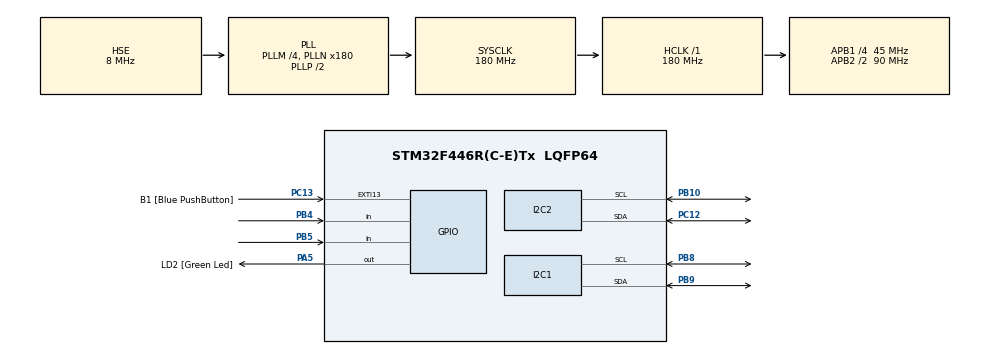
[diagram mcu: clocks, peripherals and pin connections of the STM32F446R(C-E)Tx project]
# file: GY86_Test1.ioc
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I2C2.I2C_Mode=I2C_Fast
Mcu.Family=STM32F4
Mcu.Name=STM32F446R(C-E)Tx
Mcu.Package=LQFP64
NVIC.PriorityGroup=NVIC_PRIORITYGROUP_0
PA13.GPIO_Label=TMS
PA13.Mode=Serial_Wire
PA13.Signal=SYS_JTMS-SWDIO
PA14.GPIO_Label=TCK
PA14.Mode=Serial_Wire
PA14.Signal=SYS_JTCK-SWCLK
PA2.GPIO_Label=USART_TX
PA2.Signal=USART2_TX
PA3.GPIO_Label=USART_RX
PA3.Signal=USART2_RX
PA5.GPIO_Label=LD2 [Green Led]
PA5.Signal=GPIO_Output
PB10.Mode=I2C
PB10.Signal=I2C2_SCL
PB3.GPIO_Label=SWO
PB3.Signal=SYS_JTDO-SWO
PB4.Signal=GPIO_Input
PB5.Signal=GPIO_Input
PB8.Mode=I2C
PB8.Signal=I2C1_SCL
PB9.Mode=I2C
PB9.Signal=I2C1_SDA
PC12.Mode=I2C
PC12.Signal=I2C2_SDA
PC13.GPIO_Label=B1 [Blue PushButton]
PC13.GPIO_ModeDefaultEXTI=GPIO_MODE_IT_FALLING
PC13.Signal=GPXTI13
PC14-OSC32_IN.Signal=RCC_OSC32_IN
PC15-OSC32_OUT.Signal=RCC_OSC32_OUT
PH0-OSC_IN.Mode=HSE-External-Oscillator
PH0-OSC_IN.Signal=RCC_OSC_IN
PH1-OSC_OUT.Mode=HSE-External-Oscillator
PH1-OSC_OUT.Signal=RCC_OSC_OUT
ProjectManager.HeapSize=0x200
ProjectManager.StackSize=0x400
ProjectManager.TargetToolchain=STM32CubeIDE
RCC.48MHZClocksFreq_Value=84000000
RCC.AHBFreq_Value=180000000
RCC.APB1CLKDivider=RCC_HCLK_DIV4
RCC.APB1Freq_Value=45000000
RCC.APB1TimFreq_Value=90000000
RCC.APB2CLKDivider=RCC_HCLK_DIV2
RCC.APB2Freq_Value=90000000
RCC.APB2TimFreq_Value=180000000
RCC.CortexFreq_Value=180000000
RCC.FLatency-AdvancedSettings=FLASH_LATENCY_5
RCC.HCLKFreq_Value=180000000
RCC.HSE_VALUE=8000000
RCC.HSI_VALUE=16000000
RCC.PLLM=4
RCC.PLLN=180
RCC.PLLSourceVirtual=RCC_PLLSOURCE_HSE
RCC.SYSCLKFreq_VALUE=180000000
RCC.SYSCLKSource=RCC_SYSCLKSOURCE_PLLCLK
RCC.USBFreq_Value=180000000
RCC.VCOOutputFreq_Value=360000000
board=NUCLEO-F446RE

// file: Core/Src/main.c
/* USER CODE BEGIN Header */
/**
  ******************************************************************************
  * @file           : main.c
  * @brief          : Main program body
  ******************************************************************************
  * @attention
  *
  * Copyright (c) 2022 STMicroelectronics.
  * All rights reserved.
  *
  * This software is licensed under terms that can be found in the LICENSE file
  * in the root directory of this software component.
  * If no LICENSE file comes with this software, it is provided AS-IS.
  *
  ******************************************************************************
  */
/* USER CODE END Header */
#include "main.h"
#include "ssd1306.h"

 I2C_HandleTypeDef hi2c1;
I2C_HandleTypeDef hi2c2;

/* USER CODE BEGIN PV */
#define MPU6050_ADDRESS  0b1101000
#define HMC5883L_ADDRESS 0b0011110
#define MS5611_ADDRESS   0b1110111
/* USER CODE END PV */

void SystemClock_Config(void);
static void MX_GPIO_Init(void);
static void MX_I2C1_Init(void);
static void MX_I2C2_Init(void);

int main(void)
{

  /* MCU Configuration--------------------------------------------------------*/

  /* Reset of all peripherals, Initializes the Flash interface and the Systick. */
  HAL_Init();

  /* Configure the system clock */
  SystemClock_Config();

  /* Initialize all configured peripherals */
  MX_GPIO_Init();
  MX_I2C1_Init();
  MX_I2C2_Init();
  /* USER CODE BEGIN 2 */
  ssd1306_Init();
//  ssd1306_Fill(White);
//  ssd1306_SetCursor(0,0);
//  char retVal= ssd1306_WriteString("Hello Haj meti", Font_7x10, White);
//  ssd1306_UpdateScreen();

#define D2R 0.01745329252 //Degree To Radian Constant

#define MPU6050_ADDR 0xD0 //Already Left Shifted
#define CONFIG_REG 0x1A
#define GYRO_CONFIG_REG 0x1B
#define ACCEL_CONFIG_REG 0x1C
#define SMPLRT_DIV_REG 0x19
#define INT_PIN_CFG 0x37
#define INT_ENABLE_REG 0x38
#define INT_STATUS_REG 0x3A
#define ACCEL_XOUT_H_REG 0x3B
#define TEMP_OUT_H_REG 0x41
#define GYRO_XOUT_H_REG 0x43
#define USER_CTRL_REG 0x6A
#define PWR_MGMT_1_REG 0x6B
#define WHO_AM_I_REG 0x75

/////////////////////////////////////
#define HMC5883L_ADDRESS              0x1E // Not Left Shifted
#define HMC5883L_REG_CONFIG_A         (0x00)
#define HMC5883L_REG_CONFIG_B         (0x01)
#define HMC5883L_REG_MODE             (0x02)
#define HMC5883L_REG_OUT_X_M          (0x03)
#define HMC5883L_REG_OUT_X_L          (0x04)
#define HMC5883L_REG_OUT_Z_M          (0x05)
#define HMC5883L_REG_OUT_Z_L          (0x06)
#define HMC5883L_REG_OUT_Y_M          (0x07)
#define HMC5883L_REG_OUT_Y_L          (0x08)
#define HMC5883L_REG_STATUS           (0x09)
#define HMC5883L_REG_IDENT_A          (0x0A)
#define HMC5883L_REG_IDENT_B          (0x0B)
#define HMC5883L_REG_IDENT_C          (0x0C)

  uint8_t MPU6050_rx=0;
  uint8_t MPU6050_rx_buf[20];
  uint8_t MPU6050_tx;
  float MPU6050_Gyro_LSB = 32.8;
  float MPU6050_Acc_LSB = 4096.0;

// configure the MPU6050 (gyro/accelerometer)
	MPU6050_tx = 0;
	HAL_I2C_Mem_Write(&hi2c2, MPU6050_ADDR, 0x6B, 1, 0x00, 1, 100); // exit sleep
	HAL_Delay(10);

	MPU6050_tx = 0;
	HAL_I2C_Mem_Write(&hi2c2, MPU6050_ADDR, 0x19, 1, 109, 1, 100); // sample rate = 8kHz / 110 = 72.7Hz
	HAL_Delay(10);

	MPU6050_tx = 0;
	HAL_I2C_Mem_Write(&hi2c2, MPU6050_ADDR, 0x1B, 1, 0x18, 1, 100); // gyro full scale = +/- 2000dps
	HAL_Delay(10);

	MPU6050_tx = 0;
	HAL_I2C_Mem_Write(&hi2c2, MPU6050_ADDR, 0x1C, 1, 0x08, 1, 100); // accelerometer full scale = +/- 4g
	HAL_Delay(10);

	MPU6050_tx = 0;
	HAL_I2C_Mem_Write(&hi2c2, MPU6050_ADDR, 0x38, 1, 0x01, 1, 100); // enable INTA interrupt
	HAL_Delay(10);

// configure the HMC5883L (magnetometer)

	HAL_I2C_Mem_Write(&hi2c2, MPU6050_ADDR, 0x6A, 1, 0x00, 1, 100); // disable i2c master mode
	HAL_Delay(10);

	HAL_I2C_Mem_Write(&hi2c2, MPU6050_ADDR, 0x37, 1, 0x02, 1, 100); // enable i2c master bypass mode
	HAL_Delay(10);

	HAL_I2C_Mem_Write(&hi2c2, HMC5883L_ADDRESS, 0x00, 1, 0x18, 1, 100); // sample rate = 75Hz
	HAL_Delay(10);

	HAL_I2C_Mem_Write(&hi2c2, HMC5883L_ADDRESS, 0x01, 1, 0x60, 1, 100); // full scale = +/- 2.5 Gauss
	HAL_Delay(10);

	HAL_I2C_Mem_Write(&hi2c2, HMC5883L_ADDRESS, 0x02, 1, 0x00, 1, 100); // continuous measurement mode
	HAL_Delay(10);

	HAL_I2C_Mem_Write(&hi2c2, MPU6050_ADDR, 0x37, 1, 0x00, 1, 100); // disable i2c master bypass mode
	HAL_Delay(10);

	HAL_I2C_Mem_Write(&hi2c2, MPU6050_ADDR, 0x6A, 1, 0x20, 1, 100); // enable i2c master mode
	HAL_Delay(10);

// configure the MPU6050 to automatically read the magnetometer

	HAL_I2C_Mem_Write(&hi2c2, MPU6050_ADDR, 0x25, 1, HMC5883L_ADDRESS | 0x80 , 1, 100); // slave 0 i2c address, read mode
	HAL_Delay(10);

	HAL_I2C_Mem_Write(&hi2c2, MPU6050_ADDR, 0x26, 1, 0x03, 1, 100); // slave 0 register = 0x03 (x axis)
	HAL_Delay(10);

	HAL_I2C_Mem_Write(&hi2c2, MPU6050_ADDR, 0x27, 1, 6 | 0x80, 1, 100); // slave 0 transfer size = 6, enabled
	HAL_Delay(10);

	HAL_I2C_Mem_Write(&hi2c2, MPU6050_ADDR, 0x67, 1, 1 , 1, 100); // enable slave 0 delay
	HAL_Delay(10);

  /* USER CODE END 2 */

  /* Infinite loop */
  while (1)
  {
	  // read the sensor values
	  	uint8_t rx_buffer[20];
	  	HAL_I2C_Mem_Read(&hi2c2, MPU6050_ADDR,0x3B, 1, &rx_buffer,20,100);

	  	// extract the raw values
	  	int16_t  accel_x  = rx_buffer[0]  << 8 | rx_buffer[1];
	  	int16_t  accel_y  = rx_buffer[2]  << 8 | rx_buffer[3];
	  	int16_t  accel_z  = rx_buffer[4]  << 8 | rx_buffer[5];
	  	int16_t  mpu_temp = rx_buffer[6]  << 8 | rx_buffer[7];
	  	int16_t  gyro_x   = rx_buffer[8]  << 8 | rx_buffer[9];
	  	int16_t  gyro_y   = rx_buffer[10] << 8 | rx_buffer[11];
	  	int16_t  gyro_z   = rx_buffer[12] << 8 | rx_buffer[13];
	  	int16_t  magn_x   = rx_buffer[14] << 8 | rx_buffer[15];
	  	int16_t  magn_y   = rx_buffer[16] << 8 | rx_buffer[17];
	  	int16_t  magn_z   = rx_buffer[18] << 8 | rx_buffer[19];

	  	// convert accelerometer readings into G's
	  	int16_t	accel_x_g = accel_x / 8192.0f;
	  	int16_t	accel_y_g = accel_y / 8192.0f;
	  	int16_t	accel_z_g = accel_z / 8192.0f;

	  	// convert temperature reading into degrees Celsius
	  	int16_t	mpu_temp_c = mpu_temp / 340.0f + 36.53f;

	  	// convert gyro readings into Radians per second
	  	int16_t	gyro_x_rad = gyro_x / 939.650784f;
	  	int16_t	gyro_y_rad = gyro_y / 939.650784f;
	  	int16_t	gyro_z_rad = gyro_z / 939.650784f;

	  	// convert magnetometer readings into Gauss's
	  	int16_t	magn_x_gs = magn_x / 660.0f;
	  	int16_t	magn_y_gs = magn_y / 660.0f;
	  	int16_t	magn_z_gs = magn_z / 660.0f;

	  char str[5];
	  sprintf(str, "%d", mpu_temp_c);

	  ssd1306_SetCursor(0,0);
	  char retVal= ssd1306_WriteString(str, Font_7x10, White);
	  ssd1306_UpdateScreen();

	  char str2[5];
	  sprintf(str2, "%d", accel_y);

	  ssd1306_SetCursor(0,15);
	  retVal= ssd1306_WriteString(str2, Font_7x10, White);
	  ssd1306_UpdateScreen();
  }
}

void SystemClock_Config(void)
{
  RCC_OscInitTypeDef RCC_OscInitStruct = {0};
  RCC_ClkInitTypeDef RCC_ClkInitStruct = {0};

  /** Configure the main internal regulator output voltage
  */
  __HAL_RCC_PWR_CLK_ENABLE();
  __HAL_PWR_VOLTAGESCALING_CONFIG(PWR_REGULATOR_VOLTAGE_SCALE1);

  /** Initializes the RCC Oscillators according to the specified parameters
  * in the RCC_OscInitTypeDef structure.
  */
  RCC_OscInitStruct.OscillatorType = RCC_OSCILLATORTYPE_HSE;
  RCC_OscInitStruct.HSEState = RCC_HSE_ON;
  RCC_OscInitStruct.PLL.PLLState = RCC_PLL_ON;
  RCC_OscInitStruct.PLL.PLLSource = RCC_PLLSOURCE_HSE;
  RCC_OscInitStruct.PLL.PLLM = 4;
  RCC_OscInitStruct.PLL.PLLN = 180;
  RCC_OscInitStruct.PLL.PLLP = RCC_PLLP_DIV2;
  RCC_OscInitStruct.PLL.PLLQ = 2;
  RCC_OscInitStruct.PLL.PLLR = 2;
  if (HAL_RCC_OscConfig(&RCC_OscInitStruct) != HAL_OK)
  {
    Error_Handler();
  }

  /** Activate the Over-Drive mode
  */
  if (HAL_PWREx_EnableOverDrive() != HAL_OK)
  {
    Error_Handler();
  }

  /** Initializes the CPU, AHB and APB buses clocks
  */
  RCC_ClkInitStruct.ClockType = RCC_CLOCKTYPE_HCLK|RCC_CLOCKTYPE_SYSCLK
                              |RCC_CLOCKTYPE_PCLK1|RCC_CLOCKTYPE_PCLK2;
  RCC_ClkInitStruct.SYSCLKSource = RCC_SYSCLKSOURCE_PLLCLK;
  RCC_ClkInitStruct.AHBCLKDivider = RCC_SYSCLK_DIV1;
  RCC_ClkInitStruct.APB1CLKDivider = RCC_HCLK_DIV4;
  RCC_ClkInitStruct.APB2CLKDivider = RCC_HCLK_DIV2;

  if (HAL_RCC_ClockConfig(&RCC_ClkInitStruct, FLASH_LATENCY_5) != HAL_OK)
  {
    Error_Handler();
  }
}

static void MX_I2C1_Init(void)
{

  hi2c1.Instance = I2C1;
  hi2c1.Init.ClockSpeed = 100000;
  hi2c1.Init.DutyCycle = I2C_DUTYCYCLE_2;
  hi2c1.Init.OwnAddress1 = 0;
  hi2c1.Init.AddressingMode = I2C_ADDRESSINGMODE_7BIT;
  hi2c1.Init.DualAddressMode = I2C_DUALADDRESS_DISABLE;
  hi2c1.Init.OwnAddress2 = 0;
  hi2c1.Init.GeneralCallMode = I2C_GENERALCALL_DISABLE;
  hi2c1.Init.NoStretchMode = I2C_NOSTRETCH_DISABLE;
  if (HAL_I2C_Init(&hi2c1) != HAL_OK)
  {
    Error_Handler();
  }

}

static void MX_I2C2_Init(void)
{

  hi2c2.Instance = I2C2;
  hi2c2.Init.ClockSpeed = 400000;
  hi2c2.Init.DutyCycle = I2C_DUTYCYCLE_2;
  hi2c2.Init.OwnAddress1 = 0;
  hi2c2.Init.AddressingMode = I2C_ADDRESSINGMODE_7BIT;
  hi2c2.Init.DualAddressMode = I2C_DUALADDRESS_DISABLE;
  hi2c2.Init.OwnAddress2 = 0;
  hi2c2.Init.GeneralCallMode = I2C_GENERALCALL_DISABLE;
  hi2c2.Init.NoStretchMode = I2C_NOSTRETCH_DISABLE;
  if (HAL_I2C_Init(&hi2c2) != HAL_OK)
  {
    Error_Handler();
  }

}

static void MX_GPIO_Init(void)
{
  GPIO_InitTypeDef GPIO_InitStruct = {0};

  /* GPIO Ports Clock Enable */
  __HAL_RCC_GPIOC_CLK_ENABLE();
  __HAL_RCC_GPIOH_CLK_ENABLE();
  __HAL_RCC_GPIOA_CLK_ENABLE();
  __HAL_RCC_GPIOB_CLK_ENABLE();

  /*Configure GPIO pin Output Level */
  HAL_GPIO_WritePin(LD2_GPIO_Port, LD2_Pin, GPIO_PIN_RESET);

  /*Configure GPIO pin : B1_Pin */
  GPIO_InitStruct.Pin = B1_Pin;
  GPIO_InitStruct.Mode = GPIO_MODE_IT_FALLING;
  GPIO_InitStruct.Pull = GPIO_NOPULL;
  HAL_GPIO_Init(B1_GPIO_Port, &GPIO_InitStruct);

  /*Configure GPIO pins : USART_TX_Pin USART_RX_Pin */
  GPIO_InitStruct.Pin = USART_TX_Pin|USART_RX_Pin;
  GPIO_InitStruct.Mode = GPIO_MODE_AF_PP;
  GPIO_InitStruct.Pull = GPIO_NOPULL;
  GPIO_InitStruct.Speed = GPIO_SPEED_FREQ_VERY_HIGH;
  GPIO_InitStruct.Alternate = GPIO_AF7_USART2;
  HAL_GPIO_Init(GPIOA, &GPIO_InitStruct);

  /*Configure GPIO pin : LD2_Pin */
  GPIO_InitStruct.Pin = LD2_Pin;
  GPIO_InitStruct.Mode = GPIO_MODE_OUTPUT_PP;
  GPIO_InitStruct.Pull = GPIO_NOPULL;
  GPIO_InitStruct.Speed = GPIO_SPEED_FREQ_LOW;
  HAL_GPIO_Init(LD2_GPIO_Port, &GPIO_InitStruct);

  /*Configure GPIO pins : PB4 PB5 */
  GPIO_InitStruct.Pin = GPIO_PIN_4|GPIO_PIN_5;
  GPIO_InitStruct.Mode = GPIO_MODE_INPUT;
  GPIO_InitStruct.Pull = GPIO_NOPULL;
  HAL_GPIO_Init(GPIOB, &GPIO_InitStruct);

}

void Error_Handler(void)
{
  __disable_irq();
  while (1)
  {
  }
}
